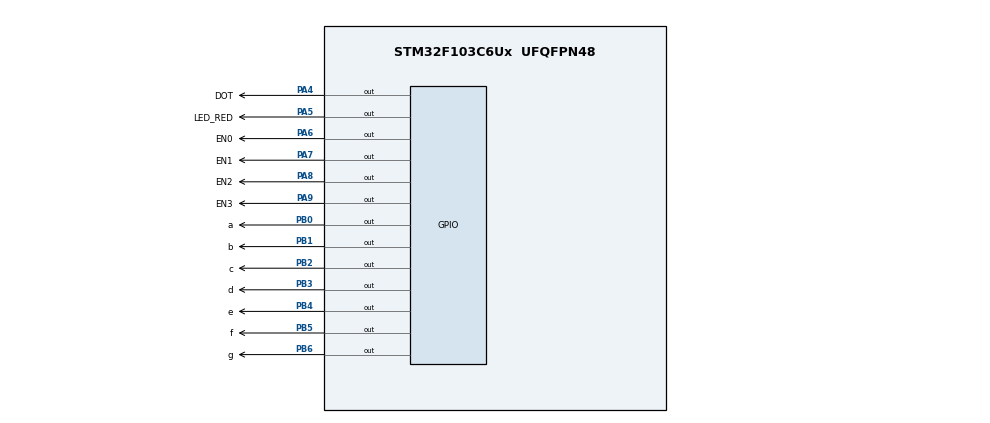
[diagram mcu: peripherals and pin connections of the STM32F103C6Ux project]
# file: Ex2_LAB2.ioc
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Mcu.Family=STM32F1
Mcu.Name=STM32F103C6Ux
Mcu.Package=UFQFPN48
NVIC.PriorityGroup=NVIC_PRIORITYGROUP_4
NVIC.TIM2_IRQn=true\:0\:0\:false\:false\:true\:true\:true
PA4.GPIO_Label=DOT
PA4.PinState=GPIO_PIN_SET
PA4.Signal=GPIO_Output
PA5.GPIO_Label=LED_RED
PA5.Signal=GPIO_Output
PA6.GPIO_Label=EN0
PA6.Signal=GPIO_Output
PA7.GPIO_Label=EN1
PA7.Signal=GPIO_Output
PA8.GPIO_Label=EN2
PA8.Signal=GPIO_Output
PA9.GPIO_Label=EN3
PA9.Signal=GPIO_Output
PB0.GPIO_Label=a
PB0.Signal=GPIO_Output
PB1.GPIO_Label=b
PB1.Signal=GPIO_Output
PB2.GPIO_Label=c
PB2.Signal=GPIO_Output
PB3.GPIO_Label=d
PB3.Signal=GPIO_Output
PB4.GPIO_Label=e
PB4.Signal=GPIO_Output
PB5.GPIO_Label=f
PB5.Signal=GPIO_Output
PB6.GPIO_Label=g
PB6.Signal=GPIO_Output
ProjectManager.HeapSize=0x200
ProjectManager.StackSize=0x400
ProjectManager.TargetToolchain=STM32CubeIDE
RCC.APB1Freq_Value=8000000
RCC.APB2Freq_Value=8000000
TIM2.Period=9
TIM2.Prescaler=7999
VP_SYS_VS_ND.Mode=No_Debug
VP_TIM2_VS_ClockSourceINT.Mode=Internal
board=custom

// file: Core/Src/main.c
/* USER CODE BEGIN Header */
/**
  ******************************************************************************
  * @file           : main.c
  * @brief          : Main program body
  ******************************************************************************
  * @attention
  *
  * <h2><center>&copy; Copyright (c) 2022 STMicroelectronics.
  * All rights reserved.</center></h2>
  *
  * This software component is licensed by ST under BSD 3-Clause license,
  * the "License"; You may not use this file except in compliance with the
  * License. You may obtain a copy of the License at:
  *                        opensource.org/licenses/BSD-3-Clause
  *
  ******************************************************************************
  */
/* USER CODE END Header */
#include "main.h"

/* USER CODE BEGIN Includes */
#include "software_timer.h"
/* USER CODE END Includes */

/* USER CODE BEGIN PD */
#define setCounterDot 100
#define setCounterLed 50
#define setCounter7SEG 50
/* USER CODE END PD */

TIM_HandleTypeDef htim2;

void SystemClock_Config(void);
static void MX_GPIO_Init(void);
static void MX_TIM2_Init(void);

int main(void)
{

  /* MCU Configuration--------------------------------------------------------*/

  /* Reset of all peripherals, Initializes the Flash interface and the Systick. */
  HAL_Init();

  /* Configure the system clock */
  SystemClock_Config();

  /* Initialize all configured peripherals */
  MX_GPIO_Init();
  MX_TIM2_Init();
  /* USER CODE BEGIN 2 */
  HAL_TIM_Base_Start_IT (& htim2 ) ;
  /* USER CODE END 2 */

  /* Infinite loop */
  /* USER CODE BEGIN WHILE */
//  setTimer1(setCounterLed);
//  setTimer2(setCounter7SEG);
//  setTimer3(setCounterDot);
  while (1)
  {
//	 if (timer1_flag == 1){
//		 HAL_GPIO_TogglePin(LED_RED_GPIO_Port, LED_RED_Pin);
//		 setTimer1(setCounterLed);
//	 }
//
//	 if (timer2_flag == 1){
//		switch (status){
//			case led1:
//				display7SEG1(status);
//				break;
//			case led2:
//				display7SEG2(status);
//				break;
//			case led3:
//				display7SEG3(status);
//				break;
//			case led4:
//				display7SEG4(status);
//				break;
//			default:
//				break;
//		}
//	    setTimer2(setCounter7SEG);
//	 }
//
//	 if (timer3_flag == 1){
//		 HAL_GPIO_TogglePin(DOT_GPIO_Port, DOT_Pin);
//		 setTimer3(setCounterLed);
//	 }
    /* USER CODE END WHILE */

  }
}

void SystemClock_Config(void)
{
  RCC_OscInitTypeDef RCC_OscInitStruct = {0};
  RCC_ClkInitTypeDef RCC_ClkInitStruct = {0};

  /** Initializes the RCC Oscillators according to the specified parameters
  * in the RCC_OscInitTypeDef structure.
  */
  RCC_OscInitStruct.OscillatorType = RCC_OSCILLATORTYPE_HSI;
  RCC_OscInitStruct.HSIState = RCC_HSI_ON;
  RCC_OscInitStruct.HSICalibrationValue = RCC_HSICALIBRATION_DEFAULT;
  RCC_OscInitStruct.PLL.PLLState = RCC_PLL_NONE;
  if (HAL_RCC_OscConfig(&RCC_OscInitStruct) != HAL_OK)
  {
    Error_Handler();
  }
  /** Initializes the CPU, AHB and APB buses clocks
  */
  RCC_ClkInitStruct.ClockType = RCC_CLOCKTYPE_HCLK|RCC_CLOCKTYPE_SYSCLK
                              |RCC_CLOCKTYPE_PCLK1|RCC_CLOCKTYPE_PCLK2;
  RCC_ClkInitStruct.SYSCLKSource = RCC_SYSCLKSOURCE_HSI;
  RCC_ClkInitStruct.AHBCLKDivider = RCC_SYSCLK_DIV1;
  RCC_ClkInitStruct.APB1CLKDivider = RCC_HCLK_DIV1;
  RCC_ClkInitStruct.APB2CLKDivider = RCC_HCLK_DIV1;

  if (HAL_RCC_ClockConfig(&RCC_ClkInitStruct, FLASH_LATENCY_0) != HAL_OK)
  {
    Error_Handler();
  }
}

static void MX_TIM2_Init(void)
{

  TIM_ClockConfigTypeDef sClockSourceConfig = {0};
  TIM_MasterConfigTypeDef sMasterConfig = {0};

  htim2.Instance = TIM2;
  htim2.Init.Prescaler = 7999;
  htim2.Init.CounterMode = TIM_COUNTERMODE_UP;
  htim2.Init.Period = 9;
  htim2.Init.ClockDivision = TIM_CLOCKDIVISION_DIV1;
  htim2.Init.AutoReloadPreload = TIM_AUTORELOAD_PRELOAD_DISABLE;
  if (HAL_TIM_Base_Init(&htim2) != HAL_OK)
  {
    Error_Handler();
  }
  sClockSourceConfig.ClockSource = TIM_CLOCKSOURCE_INTERNAL;
  if (HAL_TIM_ConfigClockSource(&htim2, &sClockSourceConfig) != HAL_OK)
  {
    Error_Handler();
  }
  sMasterConfig.MasterOutputTrigger = TIM_TRGO_RESET;
  sMasterConfig.MasterSlaveMode = TIM_MASTERSLAVEMODE_DISABLE;
  if (HAL_TIMEx_MasterConfigSynchronization(&htim2, &sMasterConfig) != HAL_OK)
  {
    Error_Handler();
  }

}

static void MX_GPIO_Init(void)
{
  GPIO_InitTypeDef GPIO_InitStruct = {0};

  /* GPIO Ports Clock Enable */
  __HAL_RCC_GPIOA_CLK_ENABLE();
  __HAL_RCC_GPIOB_CLK_ENABLE();

  /*Configure GPIO pin Output Level */
  HAL_GPIO_WritePin(DOT_GPIO_Port, DOT_Pin, GPIO_PIN_SET);

  /*Configure GPIO pin Output Level */
  HAL_GPIO_WritePin(GPIOA, LED_RED_Pin|EN0_Pin|EN1_Pin|EN2_Pin
                          |EN3_Pin, GPIO_PIN_RESET);

  /*Configure GPIO pin Output Level */
  HAL_GPIO_WritePin(GPIOB, a_Pin|b_Pin|c_Pin|d_Pin
                          |e_Pin|f_Pin|g_Pin, GPIO_PIN_RESET);

  /*Configure GPIO pins : DOT_Pin LED_RED_Pin EN0_Pin EN1_Pin
                           EN2_Pin EN3_Pin */
  GPIO_InitStruct.Pin = DOT_Pin|LED_RED_Pin|EN0_Pin|EN1_Pin
                          |EN2_Pin|EN3_Pin;
  GPIO_InitStruct.Mode = GPIO_MODE_OUTPUT_PP;
  GPIO_InitStruct.Pull = GPIO_NOPULL;
  GPIO_InitStruct.Speed = GPIO_SPEED_FREQ_LOW;
  HAL_GPIO_Init(GPIOA, &GPIO_InitStruct);

  /*Configure GPIO pins : a_Pin b_Pin c_Pin d_Pin
                           e_Pin f_Pin g_Pin */
  GPIO_InitStruct.Pin = a_Pin|b_Pin|c_Pin|d_Pin
                          |e_Pin|f_Pin|g_Pin;
  GPIO_InitStruct.Mode = GPIO_MODE_OUTPUT_PP;
  GPIO_InitStruct.Pull = GPIO_NOPULL;
  GPIO_InitStruct.Speed = GPIO_SPEED_FREQ_LOW;
  HAL_GPIO_Init(GPIOB, &GPIO_InitStruct);

}

/* USER CODE BEGIN 4 */
enum ledState {led1=1, led2=2, led3=3, led4=0};
enum ledState status = led1;
//Transfering sequence: gfedcba
// MSB = g; LSB = a -> Active Low
static uint8_t sevenSegTable[10] = {
	  0x40 //0
	, 0x79 //1
	, 0x24 //2
	, 0x30 //3
	, 0x19 //4
	, 0x12 //5
	, 0x02 //6
	, 0x78 //7
	, 0x00 //8
	, 0x10 //9
};

void display7SEG (int num){
	switch (num){
		case led1:
			HAL_GPIO_WritePin(EN0_GPIO_Port, EN0_Pin, RESET);
			HAL_GPIO_WritePin(EN1_GPIO_Port, EN1_Pin, SET);
			HAL_GPIO_WritePin(EN2_GPIO_Port, EN2_Pin, SET);
			HAL_GPIO_WritePin(EN3_GPIO_Port, EN3_Pin, SET);
			status = led2;
			break;
		case led2:
			HAL_GPIO_WritePin(EN0_GPIO_Port, EN0_Pin, SET);
			HAL_GPIO_WritePin(EN1_GPIO_Port, EN1_Pin, RESET);
			HAL_GPIO_WritePin(EN2_GPIO_Port, EN2_Pin, SET);
			HAL_GPIO_WritePin(EN3_GPIO_Port, EN3_Pin, SET);
			status = led3;
			break;
		case led3:
			HAL_GPIO_WritePin(EN0_GPIO_Port, EN0_Pin, SET);
			HAL_GPIO_WritePin(EN1_GPIO_Port, EN1_Pin, SET);
			HAL_GPIO_WritePin(EN2_GPIO_Port, EN2_Pin, RESET);
			HAL_GPIO_WritePin(EN3_GPIO_Port, EN3_Pin, SET);
			status = led4;
			break;
		case led4:
			HAL_GPIO_WritePin(EN0_GPIO_Port, EN0_Pin, SET);
			HAL_GPIO_WritePin(EN1_GPIO_Port, EN1_Pin, SET);
			HAL_GPIO_WritePin(EN2_GPIO_Port, EN2_Pin, SET);
			HAL_GPIO_WritePin(EN3_GPIO_Port, EN3_Pin, RESET);
			status = led1;
			break;
		default:
			break;
	}
	GPIOB->ODR = sevenSegTable[num];
}

static uint16_t counterLed = setCounterLed;
static uint16_t counter7SEG = setCounter7SEG;
static uint16_t counterDot = setCounterDot;

void systemRun(void){
	counterLed--;
	counter7SEG--;
	counterDot--;
	if (counterLed <= 0){
		counterLed = setCounterLed;
		HAL_GPIO_TogglePin(LED_RED_GPIO_Port, LED_RED_Pin);
	}
	if (counter7SEG <= 0){
		counter7SEG = setCounter7SEG;
		display7SEG(status);
	}
	if (counterDot <= 0){
		counterDot =setCounterDot;
		HAL_GPIO_TogglePin(DOT_GPIO_Port, DOT_Pin);
	}
}

void HAL_TIM_PeriodElapsedCallback ( TIM_HandleTypeDef * htim )
{
//	timerRun();
	systemRun();
}
/* USER CODE END 4 */

void Error_Handler(void)
{
  __disable_irq();
  while (1)
  {
  }
}

/************************ (C) COPYRIGHT STMicroelectronics *****END OF FILE****/
